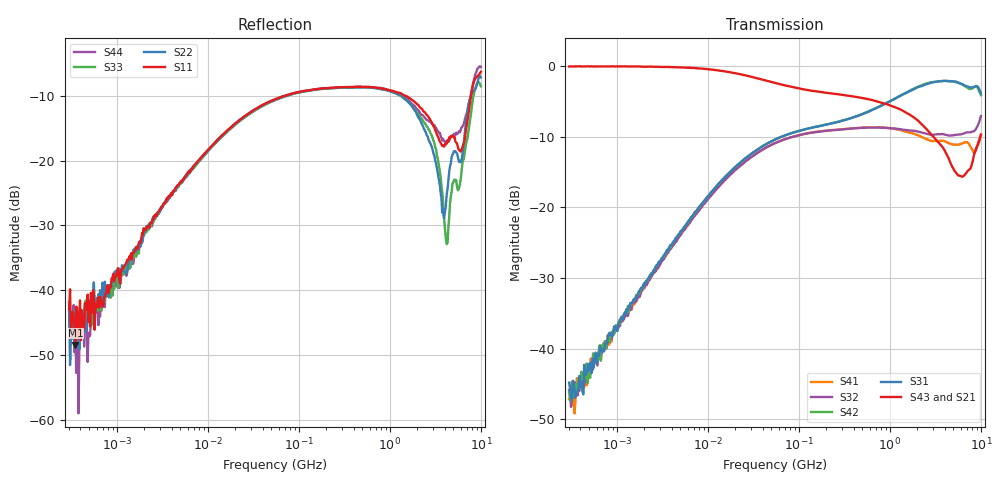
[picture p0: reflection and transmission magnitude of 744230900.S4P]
! This data is being provided by Wuerth Elektronik eiSos GmbH & Co. KG to the industry for analysis.
! Document information:
! Version:rev19a Date: 16/12/2019
! Component information:
! Match Code: WE-CNSW P/N: 744230900 Size: 0603
! Disclaimer:  While Würth Elektronik eiSos has made every reasonable effort to ensure the accuracy
! of the information provided, Würth Elektronik eiSos does not guarantee the exemption of error on the
! data collection measurements, nor does Würth Elektronik eiSos guarantee that the information is current.
! Würth Elektronik eiSos reserves the right to make any adjustments at any time without notice.
! Würth Elektronik eiSos expressly disclaims all implied warranties regarding this measurement data collection.
! Note 1  This data measurement is representative according to the product implementation into the fixture.
! Component behavior is sensitive to implementation into the fixture, which includes board
! materials, trace geometry information, connector pin out, layer connection, use of de-embedding
! techniques, etc.
! Note 2 - The fixture was designed specifically to match the 50 Ohm line impedance, as well as the connector impedance,
! in order to accomplish a reliable measurement without reflections in the trace. Any other implementation of the fixture will change the obtained
! measurement performance. The used fixture behavior was de-embedded to accomplish reliable measurement results.
! The test setup consisted of the following:
!  - Agilent VNA E5071C or E5071B
!  - Calibrations are SOLT (short open load thru)
!  - De-embedding of the SMA's or line cards were included
!  - Equipment Settings -
!  - Sampling - 501 points
!  - IF BW  70 kHz
!  - Averaging  Not used
!  Port 1----->|1|  |2| -----> Port 3
!  |  DUT  |
!  Port 2----->|3|  |4| -----> Port 4
!*VNA Port --> |Port in Datasheet|
! |Port in Datasheet| --> VNA Port
! For further information regarding this testing, please contact
! Wuerth Elektronik eiSos
! Contact: EDA team in QDC
! Email: libraries@we-online.com or libraries@we-online.de
# Hz S dB R 50
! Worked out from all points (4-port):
!   501 points, 300 kHz to 10 GHz, reference 50 ohm
!   strongest paths, dB at 300 kHz, 4.054 MHz, 54.77 MHz, 740.1 MHz, 10 GHz:
!     S43: 0.0, -0.1, -2.4, -5.0, -9.7
!     S21: -0.1, -0.1, -2.4, -5.0, -9.7
!     S31: -44.8, -25.2, -10.4, -5.8, -3.8
!     S42: -46.1, -25.2, -10.4, -5.8, -4.1
!     S32: -45.9, -25.6, -10.9, -8.7, -7.1
!     S41: -47.2, -25.6, -10.9, -8.7, -9.8
!   lowest |S11| = -48.4 dB at 351.3 kHz (marker M1), VSWR 1.01, Z = 50.2 + j0.343 ohm
!   |S11| at or under -10 dB: start of sweep to 70.13 MHz; 1.499 GHz to 7.794 GHz (6.295 GHz wide, 135 % of centre)
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300000  -42.93 49.8  -0.05 -0.3  -46.20 93.2  -45.97 -97.8
        -0.07 -0.1  -43.20 43.5  -51.44 -115.0  -47.18 70.7
        -44.82 84.4  -45.85 -80.0  -43.36 70.0  -0.06 -0.5
        -47.15 -84.5  -46.13 96.8  -0.04 -0.3  -41.82 44.1
351344  -48.45 64.8  -0.03 -0.3  -45.41 80.5  -46.16 -98.5
        -0.01 -0.4  -46.92 42.0  -47.16 -100.8  -44.48 77.8
        -46.94 98.8  -46.70 -81.9  -47.30 68.8  -0.05 -0.2
        -47.53 -102.3  -46.32 84.8  -0.02 -0.2  -44.73 39.2
9.138544e7  -9.53 18.9  -3.09 -13.3  -9.31 25.1  -9.89 -162.2
            -3.09 -13.3  -9.54 17.8  -9.91 -163.3  -9.32 25.1
            -9.32 25.1  -9.90 -163.2  -9.62 18.3  -3.04 -13.2
            -9.89 -162.2  -9.32 25.2  -3.04 -13.2  -9.60 19.2
1.546982e9  -10.10 -29.2  -6.81 -50.1  -3.73 12.1  -9.32 127.0
            -6.81 -50.1  -10.75 -42.9  -9.05 114.4  -3.65 11.7
            -3.72 12.1  -9.07 114.4  -10.81 -44.3  -6.65 -49.7
            -9.32 127.0  -3.65 11.8  -6.65 -49.7  -10.38 -30.0
3.084974e9  -14.90 -36.3  -10.03 -78.5  -2.26 -5.0  -10.58 88.9
            -10.01 -78.6  -19.26 -74.4  -9.69 68.8  -2.20 -7.1
            -2.25 -5.0  -9.69 68.9  -17.32 -72.5  -10.14 -79.1
            -10.58 88.9  -2.20 -6.9  -10.15 -79.1  -14.51 -32.3
4.211313e9  -17.39 -7.3  -12.69 -97.8  -2.09 -16.5  -10.76 65.1
            -12.67 -98.0  -25.23 21.3  -9.75 44.8  -2.10 -18.8
            -2.08 -16.7  -9.75 45.0  -32.87 32.8  -12.45 -97.9
            -10.76 65.0  -2.09 -18.7  -12.48 -98.0  -17.07 1.9
1e10  -6.28 -20.2  -9.79 137.6  -3.82 -66.1  -9.82 -10.2
      -9.74 136.9  -7.16 -3.3  -7.09 -26.3  -4.13 -69.4
      -3.83 -66.4  -7.06 -25.7  -8.52 1.9  -9.66 138.2
      -9.78 -10.4  -4.10 -68.9  -9.67 138.3  -5.58 -16.6
